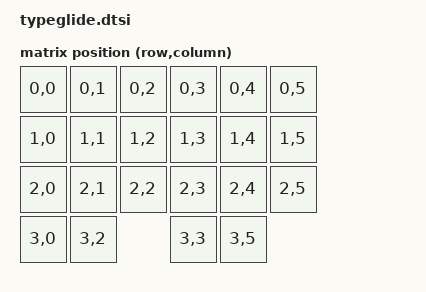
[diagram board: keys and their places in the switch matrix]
#include <dt-bindings/zmk/matrix_transform.h>
#include <zephyr/dt-bindings/adc/adc.h>

/ {
    chosen {
        zmk,kscan = &kscan0;
        zmk,matrix_transform = &default_transform;
    };

    default_transform: keymap_transform_0 {
        compatible = "zmk,matrix-transform";
        columns = <6>;
        rows = <4>;
        // 4 rows x 3 cols per half, combined 4 rows x 6 cols
        // Left cols 0-2, right cols 3-5
        // col 0 = ring (outer), col 1 = middle, col 2 = index (inner)
        //
        // Physical layout (left | right):
        //
        //  ring  mid   idx  |  idx   mid   ring
        //  ring  mid   idx  |  idx   mid   ring
        //  ring  mid   idx  |  idx   mid   ring
        //  pinky [X]  thumb | thumb  [X]  pinky
        //
        // [X] = spare (no key at row3,col1 on either half)
        map = <
            RC(0,0) RC(0,1) RC(0,2)   RC(0,3) RC(0,4) RC(0,5)
            RC(1,0) RC(1,1) RC(1,2)   RC(1,3) RC(1,4) RC(1,5)
            RC(2,0) RC(2,1) RC(2,2)   RC(2,3) RC(2,4) RC(2,5)
            RC(3,0) RC(3,2)           RC(3,3) RC(3,5)
        >;
    };


};

/ {
    split_inputs {
        #address-cells = <1>;
        #size-cells = <0>;

        m_split_input: m_split_input@0 {
            compatible = "zmk,input-split";
            reg = <0>;
        };
    };



    m_split_listener: m_split_listener {
        compatible = "zmk,input-listener";
        status = "disabled";
        device = <&m_split_input>;
     //   input-processors = <&zip_rotate_pointer>;

    };
};
